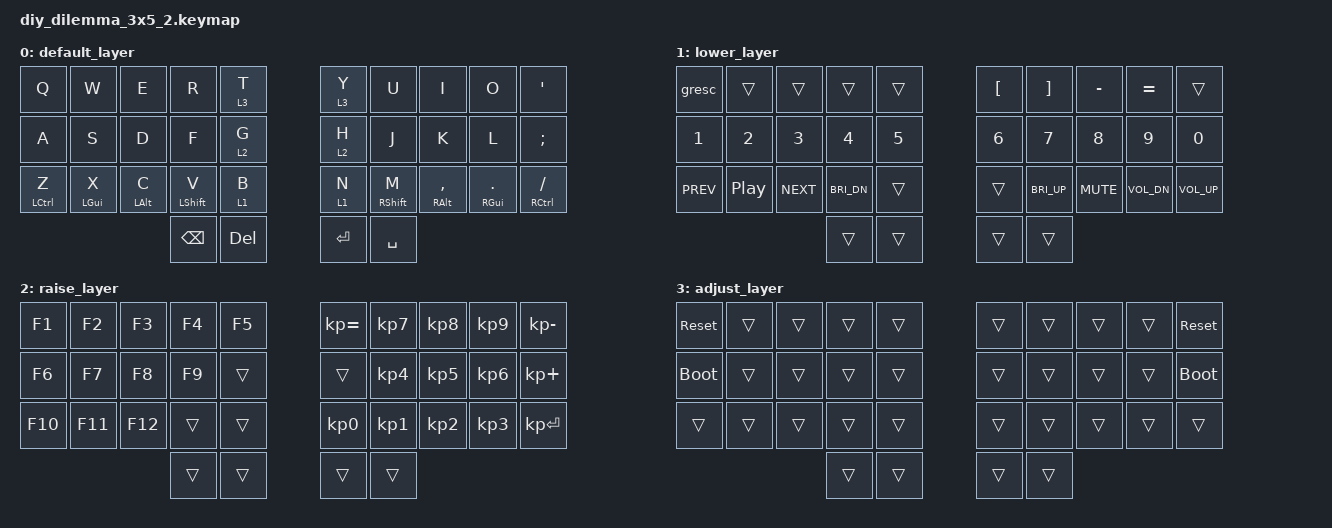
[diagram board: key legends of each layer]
/*
 * Copyright (c) 2023 The ZMK Contributors
 *
 * SPDX-License-Identifier: MIT
 */

#include <behaviors.dtsi>
#include <dt-bindings/zmk/bt.h>
#include <dt-bindings/zmk/keys.h>

&mt {
    //  flavor = "tap-preferred";
    // tapping_term_ms = <200>;
};

/ {
    combos {
        compatible = "zmk,combos";
        combo_esc {
            timeout-ms = <50>;
            key-positions = <0 1>;
            bindings = <&kp ESC>;
        };
        
        combo_tab {
            timeout-ms = <50>;
            key-positions = <10 11>;
            bindings = <&kp TAB>;
        };
        
        combo_ralt {
            timeout-ms = <50>;
            key-positions = <17 16>;
            bindings = <&kp RALT>;
        };
        
        combo_lalt {
            timeout-ms = <50>;
            key-positions = <11 12>;
            bindings = <&kp LALT>;
        };
        
        combo_lgui {
            timeout-ms = <50>;
            key-positions = <12 13>;
            bindings = <&kp LGUI>;
        };
        
        combo_rgui {
            timeout-ms = <50>;
            key-positions = <15 16>;
            bindings = <&kp RGUI>;
        };
    };

    keymap {
        compatible = "zmk,keymap";
        default_layer {
            bindings = <
        //╭──────────┬──────────┬──────────┬──────────┬──────────╮   ╭──────────┬──────────┬──────────┬──────────┬──────────╮
        //│  Q       │  W       │  E       │  R       │  T       │   │  Y       │  U       │  I       │  O       │  '       │
            &kp Q      &kp W      &kp E      &kp R      &lt 3 T        &lt 3 Y    &kp U      &kp I      &kp O      &kp SQT
        //├──────────┼──────────┼──────────┼──────────┼──────────┤   ├──────────┼──────────┼──────────┼──────────┼──────────┤
        //│  A       │  S       │  D       │  F       │  G       │   │  H       │  J       │  K       │  L       │ ;        │
            &kp A      &kp S      &kp D      &kp F      &lt 2 G        &lt 2 H    &kp J      &kp K      &kp L      &kp SEMI
        //├──────────┼──────────┼──────────┼──────────┼──────────┤   ├──────────┼──────────┼──────────┼──────────┼──────────┤
        //│  Z       │  X       │  C       │  V       │  B       │   │  N       │  M       │ , <      │ . >      │ / ?      │
           &mt LCTRL Z &mt LGUI X &mt LALT C &mt LSHFT V &lt 1 B   &lt 1 N &mt RSHFT M &mt RALT COMMA &mt RGUI DOT &mt RCTRL FSLH
        //╰──────────┴──────────┴──────────┼──────────┼──────────┤   ├──────────┼──────────┼──────────┴──────────┴──────────╯
                                             &kp BSPC   &kp DEL        &kp ENTER  &kp SPACE
        //                                 ╰──────────┴──────────╯   ╰──────────┴──────────╯
            >;
        };

        lower_layer {
            bindings = <
        //╭──────────┬──────────┬──────────┬──────────┬──────────╮   ╭──────────┬──────────┬──────────┬──────────┬──────────╮
        //│ ESC      │          │          │          │          │   │  [       │  ]       │  -       │  =       │          │
           &gresc     &trans     &trans     &trans     &trans         &kp LBKT   &kp RBKT   &kp MINUS  &kp EQUAL  &trans
        //├──────────┼──────────┼──────────┼──────────┼──────────┤   ├──────────┼──────────┼──────────┼──────────┼──────────┤
        //│  1       │  2       │  3       │  4       │  5       │   │  6       │  7       │  8       │  9       │  0       │
            &kp N1     &kp N2     &kp N3     &kp N4     &kp N5         &kp N6     &kp N7     &kp N8     &kp N9     &kp N0
        //├──────────┼──────────┼──────────┼──────────┼──────────┤   ├──────────┼──────────┼──────────┼──────────┼──────────┤
        //│  PREV    │  PLAY    │  NEXT    │  BRID    │          │   │          │  BRIU    │  MUTE    │  VOLD    │  VOLU    │
            &kp C_PREV &kp C_PP   &kp C_NEXT &kp C_BRI_DN &trans     &trans   &kp C_BRI_UP &kp C_MUTE &kp C_VOL_DN &kp C_VOL_UP
        //╰──────────┴──────────┴──────────┼──────────┼──────────┤   ├──────────┼──────────┼──────────┴──────────┴──────────╯
                                             &trans     &trans         &trans     &trans
        //                                 ╰──────────┴──────────╯   ╰──────────┴──────────╯
            >;
        };

        raise_layer {
            bindings = <
        //╭──────────┬──────────┬──────────┬──────────┬──────────╮   ╭──────────┬──────────┬──────────┬──────────┬──────────╮
        //│ F1       │  F2      │  F3      │  F4      │  F5      │   │  =       │  7       │  8       │  9       │  -       │
            &kp F1     &kp F2     &kp F3     &kp F4     &kp F5         &kp KP_EQUAL &kp KP_N7 &kp KP_N8  &kp KP_N9  &kp KP_MINUS
        //├──────────┼──────────┼──────────┼──────────┼──────────┤   ├──────────┼──────────┼──────────┼──────────┼──────────┤
        //│ F6       │  F7      │  F8      │  F9      │          │   │          │  4       │  5       │  6       │  +       │
            &kp F6     &kp F7     &kp F8     &kp F9     &trans         &trans     &kp KP_N4  &kp KP_N5  &kp KP_N6  &kp KP_PLUS
        //├──────────┼──────────┼──────────┼──────────┼──────────┤   ├──────────┼──────────┼──────────┼──────────┼──────────┤
        //│ F10      │  F11     │  F12     │          │          │   │  0       │  1       │  2       │  3       │  ENTER   │
            &kp F10    &kp F11    &kp F12    &trans     &trans         &kp KP_N0  &kp KP_N1  &kp KP_N2  &kp KP_N3  &kp KP_ENTER
        //╰──────────┴──────────┴──────────┼──────────┼──────────┤   ├──────────┼──────────┼──────────┴──────────┴──────────╯
                                             &trans     &trans         &trans     &trans
        //                                 ╰──────────┴──────────╯   ╰──────────┴──────────╯
            >;
        };
        
        adjust_layer {
            bindings = <
        //╭──────────┬──────────┬──────────┬──────────┬──────────╮   ╭──────────┬──────────┬──────────┬──────────┬──────────╮
        //│ RESET    │          │          │          │          │   │          │          │          │          │  RESET   │
           &sys_reset  &trans     &trans     &trans     &trans         &trans     &trans     &trans     &trans    &sys_reset
        //├──────────┼──────────┼──────────┼──────────┼──────────┤   ├──────────┼──────────┼──────────┼──────────┼──────────┤
        //│BOOTLOADER│          │          │          │          │   │          │          │          │          │BOOTLOADER│
          &bootloader  &trans     &trans     &trans     &trans         &trans     &trans     &trans     &trans    &bootloader
        //├──────────┼──────────┼──────────┼──────────┼──────────┤   ├──────────┼──────────┼──────────┼──────────┼──────────┤
        //│          │          │          │          │          │   │          │          │          │          │          │
            &trans     &trans     &trans     &trans     &trans         &trans     &trans     &trans     &trans     &trans
        //╰──────────┴──────────┴──────────┼──────────┼──────────┤   ├──────────┼──────────┼──────────┴──────────┴──────────╯
                                             &trans     &trans         &trans     &trans
        //                                 ╰──────────┴──────────╯   ╰──────────┴──────────╯
            >;
        };
    };
};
